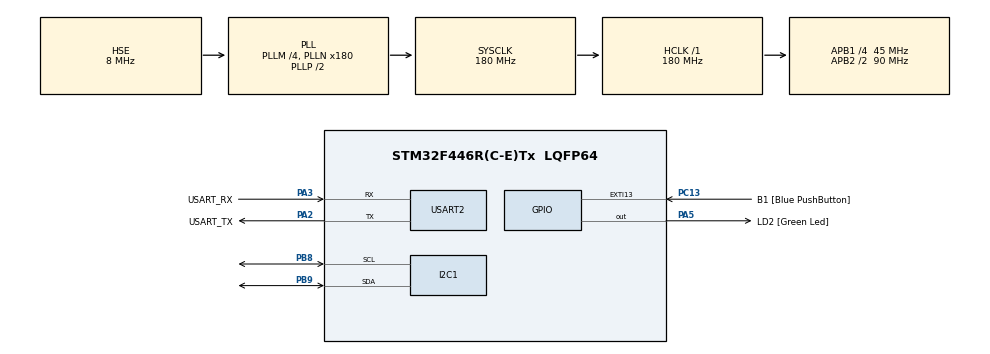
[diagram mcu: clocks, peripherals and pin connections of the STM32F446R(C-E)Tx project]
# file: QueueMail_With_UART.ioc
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FREERTOS.Queues01=pipe,16,uint16_t,0,Dynamic,NULL,NULL
FREERTOS.Tasks01=thread_sensor,2,128,thread_sensor_func,Default,NULL,Dynamic,NULL,NULL;thread_uart,0,128,thread_uart_func,Default,NULL,Dynamic,NULL,NULL
FREERTOS.configUSE_MALLOC_FAILED_HOOK=1
I2C1.I2C_Mode=I2C_Fast
Mcu.Family=STM32F4
Mcu.Name=STM32F446R(C-E)Tx
Mcu.Package=LQFP64
NVIC.PriorityGroup=NVIC_PRIORITYGROUP_4
NVIC.TIM7_IRQn=true\:0\:0\:false\:false\:true\:false\:false\:true
NVIC.TimeBase=TIM7_IRQn
NVIC.TimeBaseIP=TIM7
PA13.GPIO_Label=TMS
PA13.Mode=Serial_Wire
PA13.Signal=SYS_JTMS-SWDIO
PA14.GPIO_Label=TCK
PA14.Mode=Serial_Wire
PA14.Signal=SYS_JTCK-SWCLK
PA2.GPIO_Label=USART_TX
PA2.Mode=Asynchronous
PA2.Signal=USART2_TX
PA3.GPIO_Label=USART_RX
PA3.Mode=Asynchronous
PA3.Signal=USART2_RX
PA5.GPIO_Label=LD2 [Green Led]
PA5.Signal=GPIO_Output
PB3.GPIO_Label=SWO
PB3.Signal=SYS_JTDO-SWO
PB8.Mode=I2C
PB8.Signal=I2C1_SCL
PB9.Mode=I2C
PB9.Signal=I2C1_SDA
PC13.GPIO_Label=B1 [Blue PushButton]
PC13.GPIO_ModeDefaultEXTI=GPIO_MODE_IT_FALLING
PC13.Signal=GPXTI13
PC14-OSC32_IN.Signal=RCC_OSC32_IN
PC15-OSC32_OUT.Signal=RCC_OSC32_OUT
PH0-OSC_IN.Mode=HSE-External-Clock-Source
PH0-OSC_IN.Signal=RCC_OSC_IN
PH1-OSC_OUT.Mode=HSE-External-Clock-Source
PH1-OSC_OUT.Signal=RCC_OSC_OUT
ProjectManager.HeapSize=0x200
ProjectManager.StackSize=0x400
ProjectManager.TargetToolchain=STM32CubeIDE
RCC.AHBFreq_Value=180000000
RCC.APB1CLKDivider=RCC_HCLK_DIV4
RCC.APB1Freq_Value=45000000
RCC.APB1TimFreq_Value=90000000
RCC.APB2CLKDivider=RCC_HCLK_DIV2
RCC.APB2Freq_Value=90000000
RCC.APB2TimFreq_Value=180000000
RCC.CortexFreq_Value=180000000
RCC.FLatency-AdvancedSettings=FLASH_LATENCY_5
RCC.HCLKFreq_Value=180000000
RCC.HSE_VALUE=8000000
RCC.HSI_VALUE=16000000
RCC.LSE_VALUE=32768
RCC.PLLM=4
RCC.PLLN=180
RCC.PLLSourceVirtual=RCC_PLLSOURCE_HSE
RCC.SYSCLKFreq_VALUE=180000000
RCC.SYSCLKSource=RCC_SYSCLKSOURCE_PLLCLK
RCC.USBFreq_Value=180000000
RCC.VCOOutputFreq_Value=360000000
USART2.VirtualMode=VM_ASYNC
VP_FREERTOS_VS_CMSIS_V1.Mode=CMSIS_V1
VP_SYS_VS_tim7.Mode=TIM7
board=NUCLEO-F446RE

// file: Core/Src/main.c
/* USER CODE BEGIN Header */
/**
  ******************************************************************************
  * @file           : main.c
  * @brief          : Main program body
  ******************************************************************************
  * @attention
  *
  * <h2><center>&copy; Copyright (c) 2020 STMicroelectronics.
  * All rights reserved.</center></h2>
  *
  * This software component is licensed by ST under BSD 3-Clause license,
  * the "License"; You may not use this file except in compliance with the
  * License. You may obtain a copy of the License at:
  *                        opensource.org/licenses/BSD-3-Clause
  *
  ******************************************************************************
  */
/* USER CODE END Header */

#include "main.h"
#include "cmsis_os.h"
#include "i2c.h"
#include "usart.h"
#include "gpio.h"

/* USER CODE BEGIN Includes */
#include "lcd.h"
/* USER CODE END Includes */

void SystemClock_Config(void);
void MX_FREERTOS_Init(void);

int main(void)
{

  /* MCU Configuration--------------------------------------------------------*/

  /* Reset of all peripherals, Initializes the Flash interface and the Systick. */
  HAL_Init();

  /* Configure the system clock */
  SystemClock_Config();

  /* Initialize all configured peripherals */
  MX_GPIO_Init();
  MX_I2C1_Init();
  MX_USART2_UART_Init();
  /* USER CODE BEGIN 2 */
  LCD_Init();
  /* USER CODE END 2 */

  /* Call init function for freertos objects (in freertos.c) */
  MX_FREERTOS_Init();

  /* Start scheduler */
  osKernelStart();

  /* We should never get here as control is now taken by the scheduler */

  /* Infinite loop */

  while (1)
  {

  }
}

void SystemClock_Config(void)
{
  RCC_OscInitTypeDef RCC_OscInitStruct = {0};
  RCC_ClkInitTypeDef RCC_ClkInitStruct = {0};

  /** Configure the main internal regulator output voltage
  */
  __HAL_RCC_PWR_CLK_ENABLE();
  __HAL_PWR_VOLTAGESCALING_CONFIG(PWR_REGULATOR_VOLTAGE_SCALE1);
  /** Initializes the CPU, AHB and APB busses clocks
  */
  RCC_OscInitStruct.OscillatorType = RCC_OSCILLATORTYPE_HSE;
  RCC_OscInitStruct.HSEState = RCC_HSE_BYPASS;
  RCC_OscInitStruct.PLL.PLLState = RCC_PLL_ON;
  RCC_OscInitStruct.PLL.PLLSource = RCC_PLLSOURCE_HSE;
  RCC_OscInitStruct.PLL.PLLM = 4;
  RCC_OscInitStruct.PLL.PLLN = 180;
  RCC_OscInitStruct.PLL.PLLP = RCC_PLLP_DIV2;
  RCC_OscInitStruct.PLL.PLLQ = 2;
  RCC_OscInitStruct.PLL.PLLR = 2;
  if (HAL_RCC_OscConfig(&RCC_OscInitStruct) != HAL_OK)
  {
    Error_Handler();
  }
  /** Activate the Over-Drive mode
  */
  if (HAL_PWREx_EnableOverDrive() != HAL_OK)
  {
    Error_Handler();
  }
  /** Initializes the CPU, AHB and APB busses clocks
  */
  RCC_ClkInitStruct.ClockType = RCC_CLOCKTYPE_HCLK|RCC_CLOCKTYPE_SYSCLK
                              |RCC_CLOCKTYPE_PCLK1|RCC_CLOCKTYPE_PCLK2;
  RCC_ClkInitStruct.SYSCLKSource = RCC_SYSCLKSOURCE_PLLCLK;
  RCC_ClkInitStruct.AHBCLKDivider = RCC_SYSCLK_DIV1;
  RCC_ClkInitStruct.APB1CLKDivider = RCC_HCLK_DIV4;
  RCC_ClkInitStruct.APB2CLKDivider = RCC_HCLK_DIV2;

  if (HAL_RCC_ClockConfig(&RCC_ClkInitStruct, FLASH_LATENCY_5) != HAL_OK)
  {
    Error_Handler();
  }
}

void HAL_TIM_PeriodElapsedCallback(TIM_HandleTypeDef *htim)
{
  if (htim->Instance == TIM7) {
    HAL_IncTick();
  }
}

void Error_Handler(void)
{
}

/************************ (C) COPYRIGHT STMicroelectronics *****END OF FILE****/

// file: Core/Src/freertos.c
/* USER CODE BEGIN Header */
/**
  ******************************************************************************
  * File Name          : freertos.c
  * Description        : Code for freertos applications
  ******************************************************************************
  * @attention
  *
  * <h2><center>&copy; Copyright (c) 2020 STMicroelectronics.
  * All rights reserved.</center></h2>
  *
  * This software component is licensed by ST under Ultimate Liberty license
  * SLA0044, the "License"; You may not use this file except in compliance with
  * the License. You may obtain a copy of the License at:
  *                             www.st.com/SLA0044
  *
  ******************************************************************************
  */
/* USER CODE END Header */

#include "FreeRTOS.h"
#include "task.h"
#include "main.h"
#include "cmsis_os.h"

#include "BMP280.h"
#include "i2c.h"
#include "usart.h"
#include "stdio.h"
#include "string.h"
#include "lcd.h"

/* USER CODE BEGIN Includes */
typedef struct {

	double temp,pres;

} var;

//volatile uint8_t buf;

/* USER CODE END Includes */

osThreadId thread_sensorHandle;
osThreadId thread_uartHandle;
osMailQId pipeHandle;

void thread_sensor_func(void const * argument);
void thread_uart_func(void const * argument);

void MX_FREERTOS_Init(void); /* (MISRA C 2004 rule 8.1) */

/* GetIdleTaskMemory prototype (linked to static allocation support) */
void vApplicationGetIdleTaskMemory( StaticTask_t **ppxIdleTaskTCBBuffer, StackType_t **ppxIdleTaskStackBuffer, uint32_t *pulIdleTaskStackSize );

/* Hook prototypes */
void vApplicationMallocFailedHook(void);

/* USER CODE BEGIN 5 */
__weak void vApplicationMallocFailedHook(void)
{
   /* vApplicationMallocFailedHook() will only be called if
   configUSE_MALLOC_FAILED_HOOK is set to 1 in FreeRTOSConfig.h. It is a hook
   function that will get called if a call to pvPortMalloc() fails.
   pvPortMalloc() is called internally by the kernel whenever a task, queue,
   timer or semaphore is created. It is also called by various parts of the
   demo application. If heap_1.c or heap_2.c are used, then the size of the
   heap available to pvPortMalloc() is defined by configTOTAL_HEAP_SIZE in
   FreeRTOSConfig.h, and the xPortGetFreeHeapSize() API function can be used
   to query the size of free heap space that remains (although it does not
   provide information on how the remaining heap might be fragmented). */
}
/* USER CODE END 5 */

/* USER CODE BEGIN GET_IDLE_TASK_MEMORY */
static StaticTask_t xIdleTaskTCBBuffer;
static StackType_t xIdleStack[configMINIMAL_STACK_SIZE];

void vApplicationGetIdleTaskMemory( StaticTask_t **ppxIdleTaskTCBBuffer, StackType_t **ppxIdleTaskStackBuffer, uint32_t *pulIdleTaskStackSize )
{
  *ppxIdleTaskTCBBuffer = &xIdleTaskTCBBuffer;
  *ppxIdleTaskStackBuffer = &xIdleStack[0];
  *pulIdleTaskStackSize = configMINIMAL_STACK_SIZE;
  /* place for user code */
}
/* USER CODE END GET_IDLE_TASK_MEMORY */

void MX_FREERTOS_Init(void) {

  /* Create the queue(s) */
  /* definition and creation of pipe */
  osMailQDef(pipe, 16, uint16_t);
  pipeHandle = osMailCreate(osMailQ(pipe), NULL);

  /* Create the thread(s) */
  /* definition and creation of thread_sensor */
  osThreadDef(thread_sensor, thread_sensor_func, osPriorityHigh, 0, 128);
  thread_sensorHandle = osThreadCreate(osThread(thread_sensor), NULL);

  /* definition and creation of thread_uart */
  osThreadDef(thread_uart, thread_uart_func, osPriorityNormal, 0, 128);
  thread_uartHandle = osThreadCreate(osThread(thread_uart), NULL);

}

void thread_sensor_func(void const * argument)
{
  /* USER CODE BEGIN thread_sensor_func */
	/* Variables for all measurements */
	double d1 ,d2;
	int8_t com_rslt;

	/* Start BMP280 and change settings */
	//LCD_Printf("Connecting to BMP280...\n");
	bmp280_t bmp280;
	bmp280.i2c_handle = &hi2c1;
	bmp280.dev_addr = BMP280_I2C_ADDRESS1;
	com_rslt = BMP280_init(&bmp280);
	com_rslt += BMP280_set_power_mode(BMP280_NORMAL_MODE);
	com_rslt += BMP280_set_work_mode(BMP280_STANDARD_RESOLUTION_MODE);
	com_rslt += BMP280_set_standby_durn(BMP280_STANDBY_TIME_1_MS);

	if (com_rslt != SUCCESS) {

		    LCD_Printf("Check BMP280 connection!\nProgram terminated");
	        exit(0);
	}

	LCD_Printf("Connection successful!\n");

	/* Infinite loop */
  for(;;)
  {
	  /* Read temperature and pressure */

	  /*pipe line start*/
	  	 var * flow;
	  	 flow = (var * )osMailAlloc(pipeHandle,osWaitForever);
	  	 if (flow != NULL){
	  		 /*read to send data */
	  		 flow->temp = BMP280_read_temperature_double(&d1);
	  		 flow->pres = BMP280_read_pressure_double(&d2);
	  		 osMailPut(pipeHandle,flow);
	  	 }
    osDelay(5000);
  }
  /* USER CODE END thread_sensor_func */
}

void thread_uart_func(void const * argument)
{
  /* USER CODE BEGIN thread_uart_func */
  /* Infinite loop */
	for(;;)
  {
	  /* pipe end */
      var * flow;
      osEvent  ev;
      ev = osMailGet(pipeHandle,osWaitForever);
      //data verify
      //uint8_t text[] = " UART IS ON \n";
      //HAL_UART_Transmit(&huart2, text, sizeof(text), HAL_MAX_DELAY);
      if (ev.status == osEventMail){
    	  //uart_verify
    	  //getting
    	  flow = (var *) ev.value.p;
    	  char  buf[512];
    	  double get_d1 =  flow->temp;
    	  char rx = snprintf(buf, 100 ,"the temprature  is %0.4f" ,get_d1);
    	  HAL_UART_Transmit(&huart2,  rx , sizeof(rx), HAL_MAX_DELAY);
    	  osMailFree(pipeHandle, flow);
      }
    osDelay(100);
  }
  /* USER CODE END thread_uart_func */
}

/************************ (C) COPYRIGHT STMicroelectronics *****END OF FILE****/
